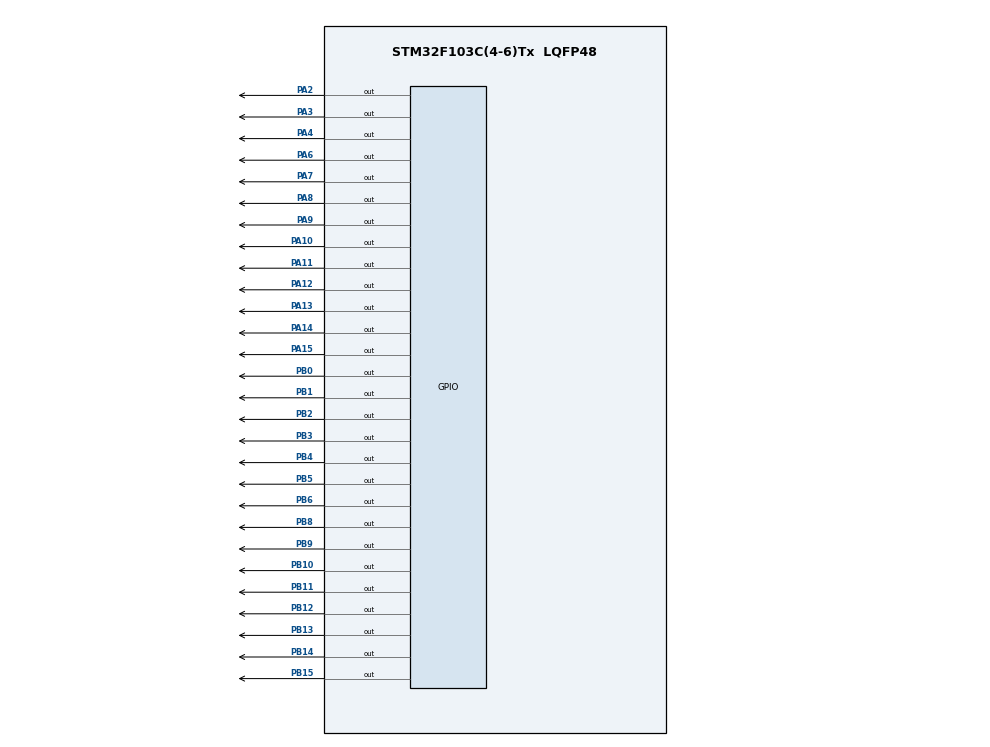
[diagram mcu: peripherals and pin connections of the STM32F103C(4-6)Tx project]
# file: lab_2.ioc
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Mcu.Family=STM32F1
Mcu.Name=STM32F103C(4-6)Tx
Mcu.Package=LQFP48
NVIC.PriorityGroup=NVIC_PRIORITYGROUP_4
NVIC.TIM2_IRQn=true\:0\:0\:false\:false\:true\:true\:true
PA10.Signal=GPIO_Output
PA11.Signal=GPIO_Output
PA12.Signal=GPIO_Output
PA13.Signal=GPIO_Output
PA14.Signal=GPIO_Output
PA15.Signal=GPIO_Output
PA2.Signal=GPIO_Output
PA3.Signal=GPIO_Output
PA4.Signal=GPIO_Output
PA6.Signal=GPIO_Output
PA7.Signal=GPIO_Output
PA8.Signal=GPIO_Output
PA9.Signal=GPIO_Output
PB0.Signal=GPIO_Output
PB1.Signal=GPIO_Output
PB10.Signal=GPIO_Output
PB11.Signal=GPIO_Output
PB12.Signal=GPIO_Output
PB13.Signal=GPIO_Output
PB14.Signal=GPIO_Output
PB15.Signal=GPIO_Output
PB2.Signal=GPIO_Output
PB3.Signal=GPIO_Output
PB4.Signal=GPIO_Output
PB5.Signal=GPIO_Output
PB6.Signal=GPIO_Output
PB8.Signal=GPIO_Output
PB9.Signal=GPIO_Output
ProjectManager.HeapSize=0x200
ProjectManager.StackSize=0x400
ProjectManager.TargetToolchain=STM32CubeIDE
RCC.APB1Freq_Value=8000000
RCC.APB2Freq_Value=8000000
TIM2.Period=9
TIM2.Prescaler=7999
VP_SYS_VS_ND.Mode=No_Debug
VP_TIM2_VS_ClockSourceINT.Mode=Internal
board=custom

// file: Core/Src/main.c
/* USER CODE BEGIN Header */
/**
  ******************************************************************************
  * @file           : main.c
  * @brief          : Main program body
  ******************************************************************************
  * @attention
  *
  * <h2><center>&copy; Copyright (c) 2023 STMicroelectronics.
  * All rights reserved.</center></h2>
  *
  * This software component is licensed by ST under BSD 3-Clause license,
  * the "License"; You may not use this file except in compliance with the
  * License. You may obtain a copy of the License at:
  *                        opensource.org/licenses/BSD-3-Clause
  *
  ******************************************************************************
  */
/* USER CODE END Header */
#include "main.h"

/* USER CODE BEGIN Includes */
#include <stdint.h>
#include "software_timer.h"
/* USER CODE END Includes */

TIM_HandleTypeDef htim2;

void SystemClock_Config(void);
static void MX_TIM2_Init(void);
static void MX_GPIO_Init(void);
/* USER CODE BEGIN PFP */
void display7SEG(uint8_t num) {
	if(num > 9) num = 9;
	uint16_t led_on_pins = GPIO_PIN_0, led_off_pins = GPIO_PIN_0;
	switch(num) {
	case 0:
		led_on_pins = GPIO_PIN_0 | GPIO_PIN_1 | GPIO_PIN_2 | GPIO_PIN_3 | GPIO_PIN_4 | GPIO_PIN_5;
		led_off_pins = GPIO_PIN_6;
		break;
	case 1:
		led_on_pins = GPIO_PIN_1 | GPIO_PIN_2;
		led_off_pins = GPIO_PIN_0 | GPIO_PIN_3 | GPIO_PIN_4 | GPIO_PIN_5 | GPIO_PIN_6;
		break;
	case 2:
		led_on_pins = GPIO_PIN_0 | GPIO_PIN_1 | GPIO_PIN_3 | GPIO_PIN_4 | GPIO_PIN_6;
		led_off_pins = GPIO_PIN_2 | GPIO_PIN_5;
		break;
	case 3:
		led_on_pins = GPIO_PIN_0 | GPIO_PIN_1 | GPIO_PIN_2 | GPIO_PIN_3 | GPIO_PIN_6;
		led_off_pins = GPIO_PIN_4 | GPIO_PIN_5;
		break;
	case 4:
		led_on_pins = GPIO_PIN_1 | GPIO_PIN_2 | GPIO_PIN_5 | GPIO_PIN_6;
		led_off_pins = GPIO_PIN_0 | GPIO_PIN_3 | GPIO_PIN_4;
		break;
	case 5:
		led_on_pins = GPIO_PIN_0 | GPIO_PIN_2 | GPIO_PIN_3 | GPIO_PIN_5 | GPIO_PIN_6;
		led_off_pins = GPIO_PIN_1 | GPIO_PIN_4;
		break;
	case 6:
		led_on_pins = GPIO_PIN_0 | GPIO_PIN_2 | GPIO_PIN_3 | GPIO_PIN_4 | GPIO_PIN_5 | GPIO_PIN_6;
		led_off_pins = GPIO_PIN_1;
		break;
	case 7:
		led_on_pins = GPIO_PIN_0 | GPIO_PIN_1 | GPIO_PIN_2;
		led_off_pins = GPIO_PIN_3 | GPIO_PIN_4 | GPIO_PIN_5 | GPIO_PIN_6;
		break;
	case 8:
		led_on_pins = GPIO_PIN_0 | GPIO_PIN_2 | GPIO_PIN_1 | GPIO_PIN_3 | GPIO_PIN_4 | GPIO_PIN_5 | GPIO_PIN_6;
		break;
	case 9:
		led_on_pins = GPIO_PIN_0 | GPIO_PIN_1 | GPIO_PIN_2 | GPIO_PIN_3 | GPIO_PIN_5 | GPIO_PIN_6;
		led_off_pins = GPIO_PIN_4;
		break;
	default:
		led_on_pins = GPIO_PIN_0 | GPIO_PIN_2 | GPIO_PIN_1 | GPIO_PIN_3 | GPIO_PIN_4 | GPIO_PIN_5 | GPIO_PIN_6;
	}
	HAL_GPIO_WritePin(GPIOB, led_on_pins, GPIO_PIN_RESET);
	if(num != 8) HAL_GPIO_WritePin(GPIOB, led_off_pins, GPIO_PIN_SET);
}
/* USER CODE END PFP */

/* USER CODE BEGIN 0 */
const uint8_t MAX_LED = 4;
uint8_t index_led = 0;
uint8_t led_buffer[4] = {1, 5, 0, 8};
uint8_t hour = 15, minute = 8, second = 50;
void update7SEG(uint8_t index) {
  display7SEG(led_buffer[index]);
  switch(index) {
  case 0:
    HAL_GPIO_WritePin(GPIOA, GPIO_PIN_6, GPIO_PIN_RESET);
    HAL_GPIO_WritePin(GPIOA, GPIO_PIN_7 | GPIO_PIN_8 | GPIO_PIN_9, GPIO_PIN_SET);
    break;
  case 1:
    HAL_GPIO_WritePin(GPIOA, GPIO_PIN_7, GPIO_PIN_RESET);
    HAL_GPIO_WritePin(GPIOA, GPIO_PIN_6 | GPIO_PIN_8 | GPIO_PIN_9, GPIO_PIN_SET);
    break;
  case 2:
    HAL_GPIO_WritePin(GPIOA, GPIO_PIN_8, GPIO_PIN_RESET);
    HAL_GPIO_WritePin(GPIOA, GPIO_PIN_6 | GPIO_PIN_7 | GPIO_PIN_9, GPIO_PIN_SET);
    break;
  case 3:
    HAL_GPIO_WritePin(GPIOA, GPIO_PIN_9, GPIO_PIN_RESET);
    HAL_GPIO_WritePin(GPIOA, GPIO_PIN_6 | GPIO_PIN_7 | GPIO_PIN_8, GPIO_PIN_SET);
    break;
  default:
    break;
  }
}
void updateClockBuffer(void) {
	led_buffer[0] = hour / 10;
	led_buffer[1] = hour % 10;
	led_buffer[2] = minute / 10;
	led_buffer[3] = minute % 10;
}

const uint8_t MAX_LED_MATRIX = 8;
uint8_t index_led_matrix = 0;
uint8_t led_matrix_buffer[8] = {0x18, 0x3C, 0x66, 0x66, 0x7E, 0x7E, 0x66, 0x66};
void displayMatixRow(uint8_t num) {
  HAL_GPIO_WritePin(GPIOA, GPIO_PIN_2, !(num >> 0 & GPIO_PIN_SET));
  HAL_GPIO_WritePin(GPIOA, GPIO_PIN_3, !(num >> 1 & GPIO_PIN_SET));
  HAL_GPIO_WritePin(GPIOA, GPIO_PIN_10, !(num >> 2 & GPIO_PIN_SET));
  HAL_GPIO_WritePin(GPIOA, GPIO_PIN_11, !(num >> 3 & GPIO_PIN_SET));
  HAL_GPIO_WritePin(GPIOA, GPIO_PIN_12, !(num >> 4 & GPIO_PIN_SET));
  HAL_GPIO_WritePin(GPIOA, GPIO_PIN_13, !(num >> 5 & GPIO_PIN_SET));
  HAL_GPIO_WritePin(GPIOA, GPIO_PIN_14, !(num >> 6 & GPIO_PIN_SET));
  HAL_GPIO_WritePin(GPIOA, GPIO_PIN_15, !(num >> 7 & GPIO_PIN_SET));
}
void updateLEDMatrix(uint8_t index) {
  switch(index) {
  case 0:
    HAL_GPIO_WritePin(GPIOB, GPIO_PIN_8, GPIO_PIN_RESET);
    HAL_GPIO_WritePin(GPIOB, GPIO_PIN_9 | GPIO_PIN_10 | GPIO_PIN_11 | GPIO_PIN_12 | GPIO_PIN_13 | GPIO_PIN_14 | GPIO_PIN_15, GPIO_PIN_SET);
    break;
  case 1:
    HAL_GPIO_WritePin(GPIOB, GPIO_PIN_9, GPIO_PIN_RESET);
    HAL_GPIO_WritePin(GPIOB, GPIO_PIN_8 | GPIO_PIN_10 | GPIO_PIN_11 | GPIO_PIN_12 | GPIO_PIN_13 | GPIO_PIN_14 | GPIO_PIN_15, GPIO_PIN_SET);
    break;
  case 2:
    HAL_GPIO_WritePin(GPIOB, GPIO_PIN_10, GPIO_PIN_RESET);
    HAL_GPIO_WritePin(GPIOB, GPIO_PIN_8 | GPIO_PIN_9 | GPIO_PIN_11 | GPIO_PIN_12 | GPIO_PIN_13 | GPIO_PIN_14 | GPIO_PIN_15, GPIO_PIN_SET);
    break;
  case 3:
    HAL_GPIO_WritePin(GPIOB, GPIO_PIN_11, GPIO_PIN_RESET);
    HAL_GPIO_WritePin(GPIOB, GPIO_PIN_8 | GPIO_PIN_9 | GPIO_PIN_10 | GPIO_PIN_12 | GPIO_PIN_13 | GPIO_PIN_14 | GPIO_PIN_15, GPIO_PIN_SET);
    break;
  case 4:
    HAL_GPIO_WritePin(GPIOB, GPIO_PIN_12, GPIO_PIN_RESET);
    HAL_GPIO_WritePin(GPIOB, GPIO_PIN_8 | GPIO_PIN_9 | GPIO_PIN_10 | GPIO_PIN_11 | GPIO_PIN_13 | GPIO_PIN_14 | GPIO_PIN_15, GPIO_PIN_SET);
    break;
  case 5:
    HAL_GPIO_WritePin(GPIOB, GPIO_PIN_13, GPIO_PIN_RESET);
    HAL_GPIO_WritePin(GPIOB, GPIO_PIN_8 | GPIO_PIN_9 | GPIO_PIN_10 | GPIO_PIN_11 | GPIO_PIN_12 | GPIO_PIN_14 | GPIO_PIN_15, GPIO_PIN_SET);
    break;
  case 6:
    HAL_GPIO_WritePin(GPIOB, GPIO_PIN_14, GPIO_PIN_RESET);
    HAL_GPIO_WritePin(GPIOB, GPIO_PIN_8 | GPIO_PIN_9 | GPIO_PIN_10 | GPIO_PIN_11 | GPIO_PIN_12 | GPIO_PIN_13 | GPIO_PIN_15, GPIO_PIN_SET);
    break;
  case 7:
    HAL_GPIO_WritePin(GPIOB, GPIO_PIN_15, GPIO_PIN_RESET);
    HAL_GPIO_WritePin(GPIOB, GPIO_PIN_8 | GPIO_PIN_9 | GPIO_PIN_10 | GPIO_PIN_11 | GPIO_PIN_12 | GPIO_PIN_13 | GPIO_PIN_14, GPIO_PIN_SET);
    break;
  default:
    break;
  }
  displayMatixRow(led_matrix_buffer[index]);
}
void updateMAtrixBuffer(void) {
	uint8_t temp = led_matrix_buffer[0];
	led_matrix_buffer[0] = led_matrix_buffer[1];
	led_matrix_buffer[1] = led_matrix_buffer[2];
	led_matrix_buffer[2] = led_matrix_buffer[3];
	led_matrix_buffer[3] = led_matrix_buffer[4];
	led_matrix_buffer[4] = led_matrix_buffer[5];
	led_matrix_buffer[5] = led_matrix_buffer[6];
	led_matrix_buffer[6] = led_matrix_buffer[7];
	led_matrix_buffer[7] = temp;
}
/* USER CODE END 0 */

int main(void)
{

  /* MCU Configuration--------------------------------------------------------*/

  /* Reset of all peripherals, Initializes the Flash interface and the Systick. */
  HAL_Init();

  /* Configure the system clock */
  SystemClock_Config();

  /* Initialize all configured peripherals */
  MX_TIM2_Init();
  MX_GPIO_Init();
  /* USER CODE BEGIN 2 */
  HAL_TIM_Base_Start_IT(&htim2);
  setTimer1(25);
  setTimer2(100);
  setTimer3(15);
  /* USER CODE END 2 */

  /* Infinite loop */
  while (1)
  {

    /* USER CODE BEGIN 3 */
	  if(timer1_flag) {
		  setTimer1(25);
		  update7SEG(index_led);
		  index_led += 1;
		  if(index_led >= MAX_LED) {
			  index_led = 0;
		  }
	  }
	  if(timer2_flag) {
		  setTimer2(100);
		  HAL_GPIO_TogglePin(GPIOA, GPIO_PIN_4);
		  second += 1;
		  if(second >= 60) {
			  second = 0;
			  minute += 1;
		  }
		  if(minute >= 60) {
			  minute = 0;
			  hour += 1;
		  }
		  if(hour >= 24) {
			  hour = 0;
		  }
		  updateClockBuffer();
	  }
	  if(timer3_flag) {
		  setTimer3(15);
		  updateLEDMatrix(index_led_matrix);
		  index_led_matrix += 1;
		  if(index_led_matrix >= MAX_LED_MATRIX) {
			  index_led_matrix = 0;
			  updateMAtrixBuffer();
		  }
	  }
  }
  /* USER CODE END 3 */
}

void SystemClock_Config(void)
{
  RCC_OscInitTypeDef RCC_OscInitStruct = {0};
  RCC_ClkInitTypeDef RCC_ClkInitStruct = {0};

  /** Initializes the RCC Oscillators according to the specified parameters
  * in the RCC_OscInitTypeDef structure.
  */
  RCC_OscInitStruct.OscillatorType = RCC_OSCILLATORTYPE_HSI;
  RCC_OscInitStruct.HSIState = RCC_HSI_ON;
  RCC_OscInitStruct.HSICalibrationValue = RCC_HSICALIBRATION_DEFAULT;
  RCC_OscInitStruct.PLL.PLLState = RCC_PLL_NONE;
  if (HAL_RCC_OscConfig(&RCC_OscInitStruct) != HAL_OK)
  {
    Error_Handler();
  }
  /** Initializes the CPU, AHB and APB buses clocks
  */
  RCC_ClkInitStruct.ClockType = RCC_CLOCKTYPE_HCLK|RCC_CLOCKTYPE_SYSCLK
                              |RCC_CLOCKTYPE_PCLK1|RCC_CLOCKTYPE_PCLK2;
  RCC_ClkInitStruct.SYSCLKSource = RCC_SYSCLKSOURCE_HSI;
  RCC_ClkInitStruct.AHBCLKDivider = RCC_SYSCLK_DIV1;
  RCC_ClkInitStruct.APB1CLKDivider = RCC_HCLK_DIV1;
  RCC_ClkInitStruct.APB2CLKDivider = RCC_HCLK_DIV1;

  if (HAL_RCC_ClockConfig(&RCC_ClkInitStruct, FLASH_LATENCY_0) != HAL_OK)
  {
    Error_Handler();
  }
}

static void MX_TIM2_Init(void)
{

  TIM_ClockConfigTypeDef sClockSourceConfig = {0};
  TIM_MasterConfigTypeDef sMasterConfig = {0};

  htim2.Instance = TIM2;
  htim2.Init.Prescaler = 7999;
  htim2.Init.CounterMode = TIM_COUNTERMODE_UP;
  htim2.Init.Period = 9;
  htim2.Init.ClockDivision = TIM_CLOCKDIVISION_DIV1;
  htim2.Init.AutoReloadPreload = TIM_AUTORELOAD_PRELOAD_DISABLE;
  if (HAL_TIM_Base_Init(&htim2) != HAL_OK)
  {
    Error_Handler();
  }
  sClockSourceConfig.ClockSource = TIM_CLOCKSOURCE_INTERNAL;
  if (HAL_TIM_ConfigClockSource(&htim2, &sClockSourceConfig) != HAL_OK)
  {
    Error_Handler();
  }
  sMasterConfig.MasterOutputTrigger = TIM_TRGO_RESET;
  sMasterConfig.MasterSlaveMode = TIM_MASTERSLAVEMODE_DISABLE;
  if (HAL_TIMEx_MasterConfigSynchronization(&htim2, &sMasterConfig) != HAL_OK)
  {
    Error_Handler();
  }

}

static void MX_GPIO_Init(void)
{
  GPIO_InitTypeDef GPIO_InitStruct = {0};

  /* GPIO Ports Clock Enable */
  __HAL_RCC_GPIOA_CLK_ENABLE();
  __HAL_RCC_GPIOB_CLK_ENABLE();

  /*Configure GPIO pin Output Level */
  HAL_GPIO_WritePin(GPIOA, GPIO_PIN_2|GPIO_PIN_3|GPIO_PIN_4|GPIO_PIN_6
                          |GPIO_PIN_7|GPIO_PIN_8|GPIO_PIN_9|GPIO_PIN_10
                          |GPIO_PIN_11|GPIO_PIN_12|GPIO_PIN_13|GPIO_PIN_14
                          |GPIO_PIN_15, GPIO_PIN_RESET);

  /*Configure GPIO pin Output Level */
  HAL_GPIO_WritePin(GPIOB, GPIO_PIN_0|GPIO_PIN_1|GPIO_PIN_2|GPIO_PIN_10
                          |GPIO_PIN_11|GPIO_PIN_12|GPIO_PIN_13|GPIO_PIN_14
                          |GPIO_PIN_15|GPIO_PIN_3|GPIO_PIN_4|GPIO_PIN_5
                          |GPIO_PIN_6|GPIO_PIN_8|GPIO_PIN_9, GPIO_PIN_RESET);

  /*Configure GPIO pins : PA2 PA3 PA4 PA6
                           PA7 PA8 PA9 PA10
                           PA11 PA12 PA13 PA14
                           PA15 */
  GPIO_InitStruct.Pin = GPIO_PIN_2|GPIO_PIN_3|GPIO_PIN_4|GPIO_PIN_6
                          |GPIO_PIN_7|GPIO_PIN_8|GPIO_PIN_9|GPIO_PIN_10
                          |GPIO_PIN_11|GPIO_PIN_12|GPIO_PIN_13|GPIO_PIN_14
                          |GPIO_PIN_15;
  GPIO_InitStruct.Mode = GPIO_MODE_OUTPUT_PP;
  GPIO_InitStruct.Pull = GPIO_NOPULL;
  GPIO_InitStruct.Speed = GPIO_SPEED_FREQ_LOW;
  HAL_GPIO_Init(GPIOA, &GPIO_InitStruct);

  /*Configure GPIO pins : PB0 PB1 PB2 PB10
                           PB11 PB12 PB13 PB14
                           PB15 PB3 PB4 PB5
                           PB6 PB8 PB9 */
  GPIO_InitStruct.Pin = GPIO_PIN_0|GPIO_PIN_1|GPIO_PIN_2|GPIO_PIN_10
                          |GPIO_PIN_11|GPIO_PIN_12|GPIO_PIN_13|GPIO_PIN_14
                          |GPIO_PIN_15|GPIO_PIN_3|GPIO_PIN_4|GPIO_PIN_5
                          |GPIO_PIN_6|GPIO_PIN_8|GPIO_PIN_9;
  GPIO_InitStruct.Mode = GPIO_MODE_OUTPUT_PP;
  GPIO_InitStruct.Pull = GPIO_NOPULL;
  GPIO_InitStruct.Speed = GPIO_SPEED_FREQ_LOW;
  HAL_GPIO_Init(GPIOB, &GPIO_InitStruct);

}

/* USER CODE BEGIN 4 */
void HAL_TIM_PeriodElapsedCallback(TIM_HandleTypeDef *htim) {
	timerRun();
}
/* USER CODE END 4 */

void Error_Handler(void)
{
  __disable_irq();
  while (1)
  {
  }
}

/************************ (C) COPYRIGHT STMicroelectronics *****END OF FILE****/
